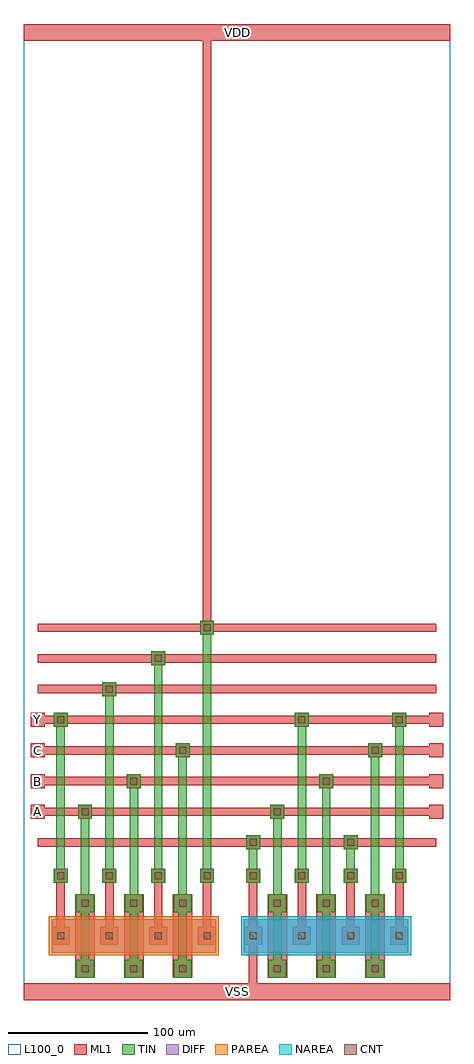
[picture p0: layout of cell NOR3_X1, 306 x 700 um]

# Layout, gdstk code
import gdstk
lib = gdstk.Library(unit=1e-6, precision=1e-09)
def R(c, l, rs):  # rectangles x0, y0, x1, y1
    for r in rs: c.add(gdstk.rectangle(r[:2], r[2:], *l))
def A(c, l, x, y, w, h, nx, ny, dx, dy):  # array of equal rectangles
    R(c, l, [(x+i*dx, y+j*dy, x+i*dx+w, y+j*dy+h) for i in range(nx) for j in range(ny)])
DIFF = (3, 0)
TIN = (5, 0)
CNT = (7, 0)
ML1 = (8, 0)
PAREA = (18, 0)
NAREA = (19, 0)
L100_0 = (100, 0)

nor3_x1 = lib.new_cell('NOR3_X1')
R(nor3_x1, DIFF, [(20,34,138,58), (158,34,276,58)])
A(nor3_x1, TIN, 37.5, 16, 13, 13, 3, 2, 35, 47)
A(nor3_x1, TIN, 175.5, 16, 13, 13, 3, 2, 35, 47)
A(nor3_x1, TIN, 41, 28, 6, 37.5, 3, 1, 35, 0)
A(nor3_x1, TIN, 179, 28, 6, 37.5, 3, 1, 35, 0)
A(nor3_x1, TIN, 21.5, 84, 10, 10, 4, 1, 35, 0)
A(nor3_x1, TIN, 159.5, 84, 10, 10, 4, 1, 35, 0)
R(nor3_x1, TIN, [(41,69.5,47,135), (76,69.5,82,157), (111,69.5,117,179), (179,69.5,185,135), (214,69.5,220,157), (249,69.5,255,179), (23.5,89,29.5,201), (58.5,89,64.5,223), (93.5,89,99.5,245), (128.5,89,134.5,267), (161.5,89,167.5,113), (196.5,89,202.5,201), (231.5,89,237.5,113), (266.5,89,272.5,201), (159.5,108,169.5,118), (229.5,108,239.5,118), (39,130,49,140), (177,130,187,140), (74,152,84,162), (212,152,222,162), (109,174,119,184), (247,174,257,184), (21.5,196,31.5,206), (194.5,196,204.5,206), (264.5,196,274.5,206), (56.5,218,66.5,228), (91.5,240,101.5,250), (126.5,262,136.5,272)])
A(nor3_x1, CNT, 41.5, 20, 5, 5, 3, 2, 35, 47)
A(nor3_x1, CNT, 179.5, 20, 5, 5, 3, 2, 35, 47)
A(nor3_x1, CNT, 24, 43.5, 5, 5, 4, 2, 35, 43)
A(nor3_x1, CNT, 162, 43.5, 5, 5, 4, 2, 35, 43)
R(nor3_x1, CNT, [(162,110.5,167,115.5), (232,110.5,237,115.5), (41.5,132.5,46.5,137.5), (179.5,132.5,184.5,137.5), (76.5,154.5,81.5,159.5), (214.5,154.5,219.5,159.5), (111.5,176.5,116.5,181.5), (249.5,176.5,254.5,181.5), (24,198.5,29,203.5), (197,198.5,202,203.5), (267,198.5,272,203.5), (59,220.5,64,225.5), (94,242.5,99,247.5), (129,264.5,134,269.5)])
A(nor3_x1, ML1, 37, 16, 14, 60, 3, 1, 35, 0)
A(nor3_x1, ML1, 37.5, 16, 13, 13, 3, 2, 35, 47)
A(nor3_x1, ML1, 175, 16, 14, 60, 3, 1, 35, 0)
A(nor3_x1, ML1, 175.5, 16, 13, 13, 3, 2, 35, 47)
A(nor3_x1, ML1, 20, 39.5, 13, 13, 4, 1, 35, 0)
A(nor3_x1, ML1, 158, 39.5, 13, 13, 4, 1, 35, 0)
A(nor3_x1, ML1, 23.5, 46, 6, 43, 4, 1, 35, 0)
A(nor3_x1, ML1, 161.5, 46, 6, 43, 4, 1, 35, 0)
A(nor3_x1, ML1, 21.5, 84, 10, 10, 4, 1, 35, 0)
A(nor3_x1, ML1, 159.5, 84, 10, 10, 4, 1, 35, 0)
A(nor3_x1, ML1, 10, 110, 286, 6, 1, 8, 0, 22)
A(nor3_x1, ML1, 5, 130, 10, 10, 1, 4, 0, 22)
A(nor3_x1, ML1, 291, 130, 10, 10, 1, 4, 0, 22)
R(nor3_x1, ML1, [(0,0,306,12), (161.5,3,167.5,92), (159.5,108,169.5,118), (229.5,108,239.5,118), (39,130,49,140), (177,130,187,140), (74,152,84,162), (212,152,222,162), (109,174,119,184), (247,174,257,184), (21.5,196,31.5,206), (194.5,196,204.5,206), (264.5,196,274.5,206), (56.5,218,66.5,228), (91.5,240,101.5,250), (126.5,262,136.5,272), (128.5,264,134.5,697), (0,688,306,700)])
R(nor3_x1, PAREA, [(18,32,140,60)])
R(nor3_x1, NAREA, [(156,32,278,60)])
R(nor3_x1, L100_0, [(0,0,306,700)])
nor3_x1.add(gdstk.Label('A', (10,135), layer=13, texttype=0))
nor3_x1.add(gdstk.Label('B', (10,157), layer=13, texttype=0))
nor3_x1.add(gdstk.Label('C', (10,179), layer=13, texttype=0))
nor3_x1.add(gdstk.Label('Y', (10,201), layer=13, texttype=0))
nor3_x1.add(gdstk.Label('VDD', (153,694), layer=13, texttype=0))
nor3_x1.add(gdstk.Label('VSS', (153,6), layer=13, texttype=0))

lib.write_gds('NOR3_X1.gds')
